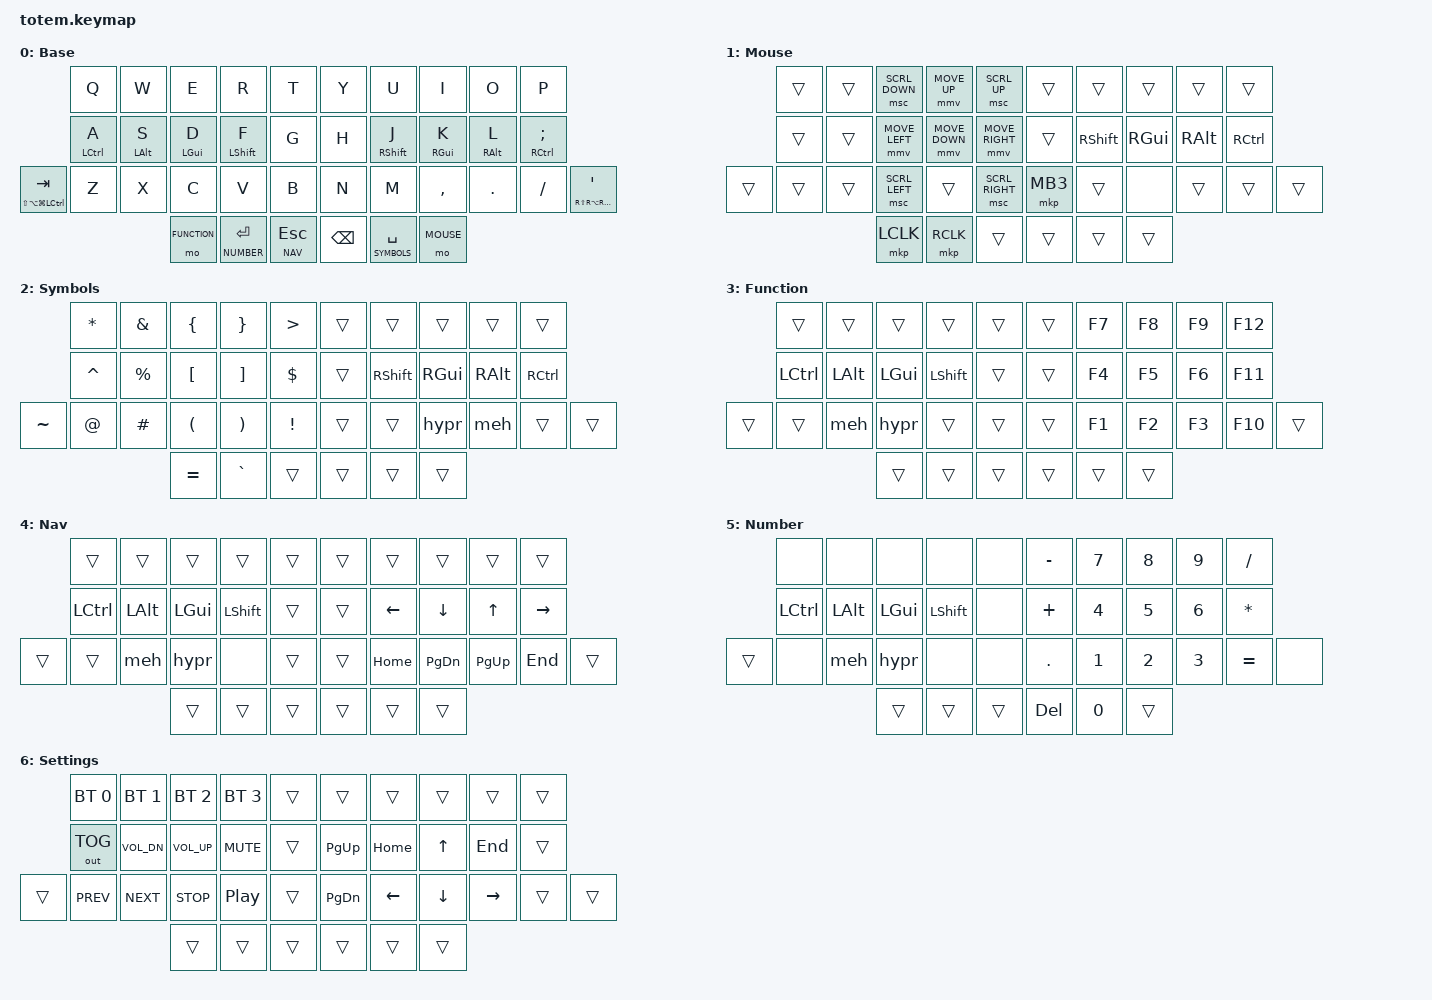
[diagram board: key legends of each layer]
//
//                                                        ▀▀▀▀▀     ▀▀▀▀▀          ▀▀█▀▀
//                                                        ▄▀▀▀▄  ▄  ▄▀▀▀▄  ▄  ▄▀▀▀▄  █  ▄▀▀▀▄
//                                                        █   █  █  █   █  █  █   █  █  █   █
//                                                         ▀▀▀   █   ▀▀▀   █   ▀▀▀   ▀   ▀▀▀
//                                                               █      ▄▄▄█▄▄▄    █   █
//                                                               ▀      █  █  █     █▄█
//                                                             ▀▀▀▀▀    █  █  █      ▀
//                                                                      ▀  ▀  ▀
//
// ▄▄▄▄▄▄▄▄▄▄▄▄▄▄▄▄▄▄▄▄▄▄▄▄▄▄▄▄▄▄▄▄▄▄▄▄▄▄▄▄▄▄▄▄▄▄▄▄▄▄▄▄▄▄▄▄▄▄▄▄▄▄▄▄▄▄▄▄▄▄▄▄▄▄▄▄▄▄▄▄▄▄▄▄▄▄▄▄▄▄▄▄▄▄▄▄▄▄▄▄▄▄▄▄▄▄▄▄▄▄▄▄▄▄▄▄▄▄▄▄▄▄▄▄▄▄▄▄▄▄▄▄▄▄▄▄▄▄▄▄▄▄▄▄▄▄▄▄▄

#include <behaviors.dtsi>
#include <dt-bindings/zmk/keys.h>
#include <dt-bindings/zmk/bt.h>
#include <dt-bindings/zmk/outputs.h>
#include <dt-bindings/zmk/mouse.h>

#define DEFAULT 0
#define MOUSE 1
#define SYMBOLS 2
#define FUNCTION 3
#define NAV 4
#define NUMBER 5
#define SETTINGS 6

// Key position groups for TOTEM (38 keys)
// Physical layout positions:
// ╭─────────────────────────────╮  ╭─────────────────────────────╮
// │      0   1   2   3   4      │  │      5   6   7   8   9      │
// │     10  11  12  13  14      │  │     15  16  17  18  19      │
// │ 20  21  22  23  24  25      │  │     26  27  28  29  30  31  │
// ╰────────────╮ 32  33  34     │  │     35  36  37 ╭────────────╯
//              ╰────────────────╯  ╰────────────────╯

#define KEYS_L 0 1 2 3 4 10 11 12 13 14 20 21 22 23 24 25  // Left hand keys
#define KEYS_R 5 6 7 8 9 15 16 17 18 19 26 27 28 29 30 31  // Right hand keys
#define THUMBS_L 32 33 34  // Left thumb keys
#define THUMBS_R 35 36 37  // Right thumb keys
#define THUMBS 32 33 34 35 36 37  // All thumb keys

&caps_word {
    continue-list = <UNDERSCORE MINUS BACKSPACE DELETE>;
};

/ {
    behaviors {
        hm_l_idx: hm_left_index {
            compatible = "zmk,behavior-hold-tap";
            label = "HM_LEFT_INDEX";
            #binding-cells = <2>;
            flavor = "balanced";
            tapping-term-ms = <180>;  // -20ms for index finger
            quick-tap-ms = <150>;
            require-prior-idle-ms = <125>;
            hold-trigger-key-positions = <KEYS_R THUMBS>;
            hold-trigger-on-release;
            bindings = <&kp>, <&kp>;
        };

        hm_r_idx: hm_right_index {
            compatible = "zmk,behavior-hold-tap";
            label = "HM_RIGHT_INDEX";
            #binding-cells = <2>;
            flavor = "balanced";
            tapping-term-ms = <180>;  // -20ms for index finger
            quick-tap-ms = <150>;
            require-prior-idle-ms = <125>;
            hold-trigger-key-positions = <KEYS_L THUMBS>;
            hold-trigger-on-release;
            bindings = <&kp>, <&kp>;
        };

        hm_l_mid: hm_left_middle {
            compatible = "zmk,behavior-hold-tap";
            label = "HM_LEFT_MIDDLE";
            #binding-cells = <2>;
            flavor = "balanced";
            tapping-term-ms = <230>;  // +30ms for middle finger
            quick-tap-ms = <150>;
            require-prior-idle-ms = <125>;
            hold-trigger-key-positions = <KEYS_R THUMBS>;
            hold-trigger-on-release;
            bindings = <&kp>, <&kp>;
        };

        hm_r_mid: hm_right_middle {
            compatible = "zmk,behavior-hold-tap";
            label = "HM_RIGHT_MIDDLE";
            #binding-cells = <2>;
            flavor = "balanced";
            tapping-term-ms = <230>;  // +30ms for middle finger
            quick-tap-ms = <150>;
            require-prior-idle-ms = <125>;
            hold-trigger-key-positions = <KEYS_L THUMBS>;
            hold-trigger-on-release;
            bindings = <&kp>, <&kp>;
        };

        hm_l_rng: hm_left_ring {
            compatible = "zmk,behavior-hold-tap";
            label = "HM_LEFT_RING";
            #binding-cells = <2>;
            flavor = "balanced";
            tapping-term-ms = <230>;  // +30ms for ring finger
            quick-tap-ms = <150>;
            require-prior-idle-ms = <125>;
            hold-trigger-key-positions = <KEYS_R THUMBS>;
            hold-trigger-on-release;
            bindings = <&kp>, <&kp>;
        };

        hm_r_rng: hm_right_ring {
            compatible = "zmk,behavior-hold-tap";
            label = "HM_RIGHT_RING";
            #binding-cells = <2>;
            flavor = "balanced";
            tapping-term-ms = <230>;  // +30ms for ring finger
            quick-tap-ms = <150>;
            require-prior-idle-ms = <125>;
            hold-trigger-key-positions = <KEYS_L THUMBS>;
            hold-trigger-on-release;
            bindings = <&kp>, <&kp>;
        };

        hm_l_pnk: hm_left_pinky {
            compatible = "zmk,behavior-hold-tap";
            label = "HM_LEFT_PINKY";
            #binding-cells = <2>;
            flavor = "balanced";
            tapping-term-ms = <260>;  // +60ms for pinky
            quick-tap-ms = <150>;
            require-prior-idle-ms = <125>;
            hold-trigger-key-positions = <KEYS_R THUMBS>;
            hold-trigger-on-release;
            bindings = <&kp>, <&kp>;
        };

        hm_r_pnk: hm_right_pinky {
            compatible = "zmk,behavior-hold-tap";
            label = "HM_RIGHT_PINKY";
            #binding-cells = <2>;
            flavor = "balanced";
            tapping-term-ms = <260>;  // +60ms for pinky
            quick-tap-ms = <150>;
            require-prior-idle-ms = <125>;
            hold-trigger-key-positions = <KEYS_L THUMBS>;
            hold-trigger-on-release;
            bindings = <&kp>, <&kp>;
        };

        // Macro behaviors
        meh: meh {
            compatible = "zmk,behavior-macro";
            label = "MEH";
            #binding-cells = <0>;
            bindings = <&kp LC(LA(LSHFT))>;
        };

        hypr: hyper {
            compatible = "zmk,behavior-macro";
            label = "HYPER";
            #binding-cells = <0>;
            bindings = <&kp LC(LA(LG(LSHFT)))>;
        };

        // Layer-tap behaviors
        lt_esc: layer_tap_esc {
            compatible = "zmk,behavior-hold-tap";
            label = "LAYER_TAP_ESC";
            #binding-cells = <2>;
            flavor = "tap-preferred";
            tapping-term-ms = <180>;  // -20ms
            bindings = <&mo>, <&kp>;
        };

        lt_space: layer_tap_space {
            compatible = "zmk,behavior-hold-tap";
            label = "LAYER_TAP_SPACE";
            #binding-cells = <2>;
            flavor = "tap-preferred";
            tapping-term-ms = <180>;  // -20ms
            bindings = <&mo>, <&kp>;
        };

        lt_minus: layer_tap_minus {
            compatible = "zmk,behavior-hold-tap";
            label = "LAYER_TAP_MINUS";
            #binding-cells = <2>;
            flavor = "tap-preferred";
            tapping-term-ms = <235>;  // +35ms
            bindings = <&mo>, <&kp>;
        };
    };

    combos {
        compatible = "zmk,combos";
        global-quick-tap-ms = <75>;
        // Corner combos that work on all layers
        combo_caps_word {
            timeout-ms = <50>;
            key-positions = <0 1>;  // Q + W
            bindings = <&caps_word>;
            layers = <DEFAULT>;
        };

        combo_backslash {
            timeout-ms = <50>;
            key-positions = <0 9>;  // Q + P
            bindings = <&kp BACKSLASH>;
            layers = <DEFAULT>;
        };

        combo_underscore {
            timeout-ms = <50>;
            key-positions = <21 22>;  // Z + X
            bindings = <&kp UNDER>;
            layers = <DEFAULT>;
        };

        combo_minus_settings {
            timeout-ms = <50>;
            key-positions = <29 30>;  // . + /
            bindings = <&lt_minus SETTINGS MINUS>;
            layers = <DEFAULT>;
        };

        // MOUSE layer corner combos

        // SYMBOLS layer corner combos
        combo_symbols_tl {
            timeout-ms = <50>;
            key-positions = <0 1>;
            bindings = <&kp LT>;
            layers = <SYMBOLS>;
        };

        combo_symbols_bl {
            timeout-ms = <50>;
            key-positions = <21 22>;
            bindings = <&kp PIPE>;
            layers = <SYMBOLS>;
        };

        // FUNCTION layer corner combos

        // NAV layer corner combos

        // NUMBER layer corner combos

        // SETTINGS layer corner combos
        combo_settings_tl {
            timeout-ms = <50>;
            key-positions = <0 1>;
            bindings = <&bt BT_CLR>;
            layers = <SETTINGS>;
        };

        combo_settings_tr {
            timeout-ms = <50>;
            key-positions = <8 9>;
            bindings = <&bootloader>;
            layers = <SETTINGS>;
        };

        // Original Corne combos adapted to TOTEM positions
        combo_copy {
            timeout-ms = <50>;
            key-positions = <23 24>;  // C + V
            bindings = <&kp LG(C)>;
        };

        combo_paste {
            timeout-ms = <50>;
            key-positions = <24 25>;  // V + B
            bindings = <&kp LG(V)>;
        };
    };

    keymap {
        compatible = "zmk,keymap";

        default_layer {
            display-name = "Base";
            bindings = <
//             ┌─────────────┬─────────────┬─────────────┬─────────────┬─────────────┐   ┌─────────────┬─────────────┬─────────────┬─────────────┬─────────────┐
                    &kp Q           &kp W           &kp E           &kp R           &kp T               &kp Y           &kp U           &kp I           &kp O           &kp P
//             ├─────────────┼─────────────┼─────────────┼─────────────┼─────────────┤   ├─────────────┼─────────────┼─────────────┼─────────────┼─────────────┤
                &hm_l_pnk LCTRL A &hm_l_rng LALT S &hm_l_mid LGUI D &hm_l_idx LSHFT F     &kp G               &kp H       &hm_r_idx RSHFT J &hm_r_mid RGUI K &hm_r_rng RALT L &hm_r_pnk RCTRL SEMI
// ┌─────────────┼─────────────┼─────────────┼─────────────┼─────────────┼─────────────┤   ├─────────────┼─────────────┼─────────────┼─────────────┼─────────────┼─────────────┐
   &mt LS(LA(LG(LCTRL))) TAB     &kp Z           &kp X           &kp C           &kp V           &kp B               &kp N           &kp M           &kp COMMA       &kp DOT         &kp FSLH        &mt RS(RA(RG(RCTRL))) SQT
// └─────────────┴─────────────┴─────────────┼─────────────┼─────────────┼─────────────┤   ├─────────────┼─────────────┼─────────────┼─────────────┴─────────────┴─────────────┘
                                                &mo FUNCTION    &lt NUMBER ENTER &lt_esc NAV ESC        &kp BACKSPACE  &lt_space SYMBOLS SPACE &mo MOUSE
//                                             └─────────────┴─────────────┴─────────────┘   └─────────────┴─────────────┴─────────────┘
            >;
        };

        mouse_layer {
            display-name = "Mouse";
            bindings = <
//             ┌─────────────┬─────────────┬─────────────┬─────────────┬─────────────┐   ┌─────────────┬─────────────┬─────────────┬─────────────┬─────────────┐
                  &trans          &trans       &msc SCRL_DOWN    &mmv MOVE_UP     &msc SCRL_UP            &trans          &trans          &trans          &trans          &trans
//             ├─────────────┼─────────────┼─────────────┼─────────────┼─────────────┤   ├─────────────┼─────────────┼─────────────┼─────────────┼─────────────┤
                  &trans          &trans       &mmv MOVE_LEFT   &mmv MOVE_DOWN   &mmv MOVE_RIGHT          &trans          &kp RSHFT       &kp RGUI        &kp RALT        &kp RCTRL
// ┌─────────────┼─────────────┼─────────────┼─────────────┼─────────────┼─────────────┤   ├─────────────┼─────────────┼─────────────┼─────────────┼─────────────┼─────────────┐
     &trans           &trans          &trans       &msc SCRL_LEFT    &trans       &msc SCRL_RIGHT         &mkp MB3        &trans          &none           &trans          &trans          &trans
// └─────────────┴─────────────┴─────────────┼─────────────┼─────────────┼─────────────┤   ├─────────────┼─────────────┼─────────────┼─────────────┴─────────────┴─────────────┘
                                                &mkp LCLK       &mkp RCLK       &trans                   &trans          &trans          &trans
//                                             └─────────────┴─────────────┴─────────────┘   └─────────────┴─────────────┴─────────────┘
            >;
        };

        symbols_layer {
            display-name = "Symbols";
            bindings = <
              &kp STAR      &kp AMPS      &kp LBRC      &kp RBRC      &kp GT            &trans        &trans        &trans        &trans        &trans
              &kp CARET     &kp PRCNT     &kp LBKT      &kp RBKT      &kp DLLR          &trans        &kp RSHFT     &kp RGUI      &kp RALT      &kp RCTRL
&kp TILDE     &kp AT        &kp HASH      &kp LPAR      &kp RPAR      &kp EXCL          &trans        &trans        &hypr         &meh          &trans        &trans
                                          &kp EQUAL     &kp GRAVE     &trans            &trans        &trans        &trans
            >;
        };

        function_layer {
            display-name = "Function";
            bindings = <
              &trans        &trans        &trans        &trans        &trans            &trans        &kp F7        &kp F8        &kp F9        &kp F12
              &kp LCTRL     &kp LALT      &kp LGUI      &kp LSHFT     &trans            &trans        &kp F4        &kp F5        &kp F6        &kp F11
&trans        &trans        &meh          &hypr         &trans        &trans            &trans        &kp F1        &kp F2        &kp F3        &kp F10       &trans
                                          &trans        &trans        &trans            &trans        &trans        &trans
            >;
        };

        navigation_layer {
            display-name = "Nav";
            bindings = <
              &trans        &trans        &trans        &trans        &trans            &trans        &trans        &trans        &trans        &trans
              &kp LCTRL     &kp LALT      &kp LGUI      &kp LSHFT     &trans            &trans        &kp LEFT      &kp DOWN      &kp UP        &kp RIGHT
&trans        &trans        &meh          &hypr         &none         &trans            &trans        &kp HOME      &kp PG_DN     &kp PG_UP     &kp END       &trans
                                          &trans        &trans        &trans            &trans        &trans        &trans
            >;
        };

        number_layer {
            display-name = "Number";
            bindings = <
               &none         &none         &none         &none         &none            &kp MINUS     &kp N7        &kp N8        &kp N9        &kp FSLH
               &kp LCTRL     &kp LALT      &kp LGUI      &kp LSHFT     &none            &kp PLUS      &kp N4        &kp N5        &kp N6        &kp STAR
&trans         &none         &meh          &hypr         &none         &none            &kp DOT       &kp N1        &kp N2        &kp N3        &kp EQUAL     &none
                                          &trans        &trans        &trans            &kp DEL       &kp N0        &trans
            >;
        };

        settings_layer {
            display-name = "Settings";
            bindings = <
                  &bt BT_SEL 0    &bt BT_SEL 1    &bt BT_SEL 2    &bt BT_SEL 3  &trans    &trans     &trans    &trans    &trans     &trans
                  &out OUT_TOG    &kp C_VOL_DN    &kp C_VOL_UP    &kp C_MUTE    &trans    &kp PG_UP  &kp HOME  &kp UP    &kp END    &trans
         &trans   &kp C_PREV      &kp C_NEXT      &kp C_STOP      &kp C_PP      &trans    &kp PG_DN  &kp LEFT  &kp DOWN  &kp RIGHT  &trans    &trans
                                                  &trans          &trans        &trans    &trans     &trans    &trans
            >;
        };
    };
};
